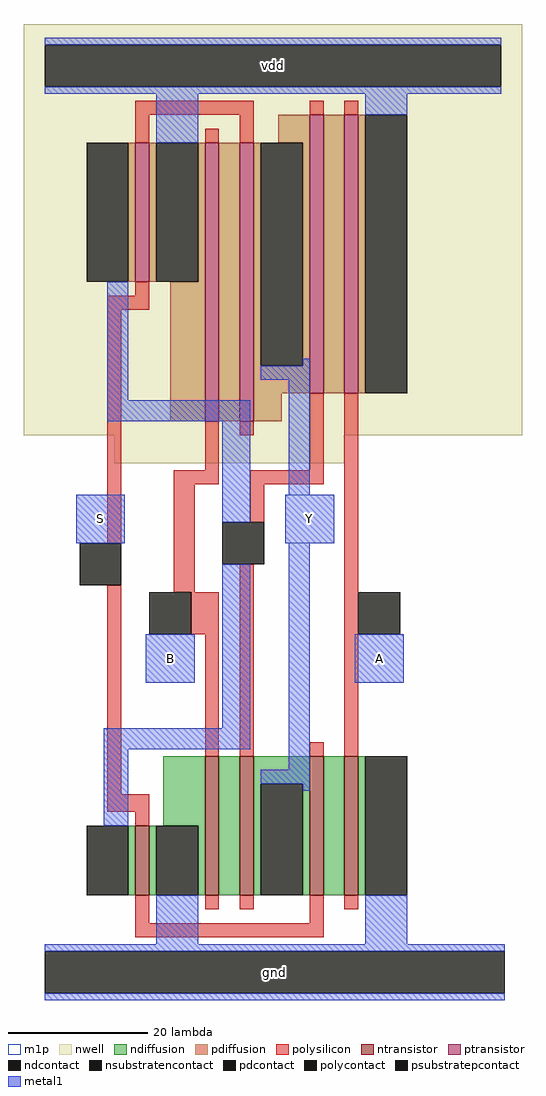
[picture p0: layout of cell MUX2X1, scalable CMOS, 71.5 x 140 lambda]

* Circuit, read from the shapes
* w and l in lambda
.subckt MUX2X1 A B S Y vdd gnd
M1 gnd S n1 gnd nfet w=10 l=2
M2 n2 B gnd gnd nfet w=20 l=2
M3 Y n1 n2 gnd nfet w=20 l=2
M4 n3 S Y gnd nfet w=20 l=2
M5 gnd A n3 gnd nfet w=20 l=2
M6 vdd S n1 vdd pfet w=20 l=2
M7 n4 B vdd vdd pfet w=40 l=2
M8 Y S n4 vdd pfet w=40 l=2
M9 n5 n1 Y vdd pfet w=40 l=2
M10 vdd A n5 vdd pfet w=40 l=2
.ends

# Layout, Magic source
magic
tech scmos
magscale 1 2
<< nwell >>
rect -12 154 131 272
rect 14 146 80 154
<< ntransistor >>
rect 20 22 24 42
rect 40 22 44 62
rect 50 22 54 62
rect 70 22 74 62
rect 80 22 84 62
<< ptransistor >>
rect 20 198 24 238
rect 40 158 44 238
rect 50 158 54 238
rect 70 166 74 246
rect 80 166 84 246
<< ndiffusion >>
rect 28 42 40 62
rect 18 22 20 42
rect 24 22 26 42
rect 38 22 40 42
rect 44 22 50 62
rect 54 54 70 62
rect 54 22 56 54
rect 68 22 70 54
rect 74 22 80 62
rect 84 22 86 62
<< pdiffusion >>
rect 61 238 70 246
rect 18 198 20 238
rect 24 198 26 238
rect 38 198 40 238
rect 30 158 40 198
rect 44 158 50 238
rect 54 174 56 238
rect 68 174 70 238
rect 54 166 70 174
rect 74 166 80 246
rect 84 166 86 246
rect 54 158 62 166
<< ndcontact >>
rect 6 22 18 42
rect 26 22 38 42
rect 56 22 68 54
rect 86 22 98 62
<< pdcontact >>
rect 6 198 18 238
rect 26 198 38 238
rect 56 174 68 238
rect 86 166 98 246
<< psubstratepcontact >>
rect -6 -6 126 6
<< nsubstratencontact >>
rect -6 254 125 266
<< polysilicon >>
rect 20 246 54 250
rect 70 246 74 250
rect 80 246 84 250
rect 20 238 24 246
rect 40 238 44 242
rect 50 238 54 246
rect 20 194 24 198
rect 12 190 24 194
rect 12 123 16 190
rect 40 144 44 158
rect 50 154 54 158
rect 70 144 74 166
rect 12 51 16 111
rect 31 140 44 144
rect 53 140 74 144
rect 31 109 37 140
rect 53 129 57 140
rect 36 97 44 109
rect 40 62 44 97
rect 50 62 54 117
rect 70 62 74 66
rect 80 62 84 166
rect 12 46 24 51
rect 20 42 24 46
rect 20 14 24 22
rect 40 18 44 22
rect 50 18 54 22
rect 70 14 74 22
rect 80 18 84 22
rect 20 10 74 14
<< polycontact >>
rect 4 111 16 123
rect 45 117 57 129
rect 24 97 36 109
rect 84 97 96 109
<< metal1 >>
rect -6 266 125 268
rect -6 252 125 254
rect 26 238 38 252
rect 86 246 98 252
rect 12 164 18 198
rect 68 174 70 176
rect 56 170 70 174
rect 12 158 53 164
rect 3 123 17 137
rect 45 129 53 158
rect 64 137 70 170
rect 63 123 77 137
rect 23 83 37 97
rect 45 70 53 117
rect 11 64 53 70
rect 11 42 18 64
rect 64 58 70 123
rect 83 83 97 97
rect 56 54 70 58
rect 68 52 70 54
rect 26 8 38 22
rect 86 8 98 22
rect -6 6 126 8
rect -6 -8 126 -6
<< m1p >>
rect 3 123 17 137
rect 63 123 77 137
rect 23 83 37 97
rect 83 83 97 97
<< labels >>
rlabel metal1 83 83 97 97 0 A
port 0 nsew signal input
rlabel metal1 23 83 37 97 0 B
port 1 nsew signal input
rlabel metal1 -6 252 125 268 0 vdd
port 4 nsew power bidirectional abutment
rlabel metal1 -6 -8 126 8 0 gnd
port 5 nsew ground bidirectional abutment
rlabel metal1 3 123 17 137 0 S
port 2 nsew signal input
rlabel metal1 63 123 77 137 0 Y
port 3 nsew signal output
<< properties >>
string FIXED_BBOX 0 0 120 260
string LEFclass CORE
string LEFsite core
string LEFsymmetry X Y
<< end >>
